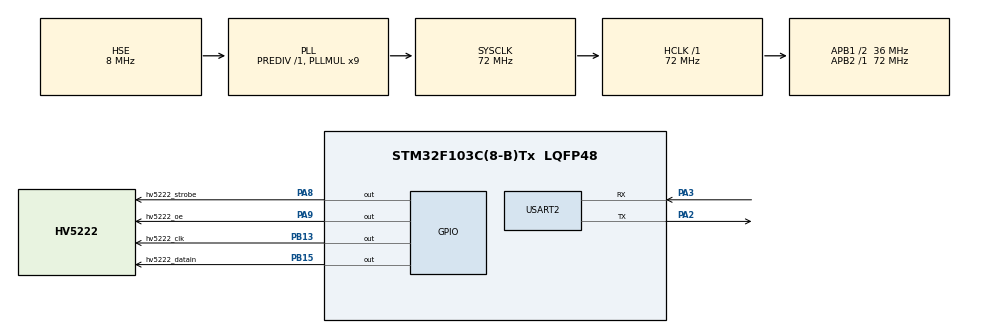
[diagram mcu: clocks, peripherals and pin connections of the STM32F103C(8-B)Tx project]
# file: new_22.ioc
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FREERTOS.Queues01=q_read_to_uart,16,uint16_t,0,Dynamic,NULL,NULL;q_uart_to_output,16,uint16_t,0,Dynamic,NULL,NULL;q_output_to_read,16,uint16_t,0,Dynamic,NULL,NULL
FREERTOS.Tasks01=t_read,1,128,start_t_read,Default,NULL,Dynamic,NULL,NULL;t_uart,0,128,start_t_uart,Default,NULL,Dynamic,NULL,NULL;t_output,0,128,start_t_output,Default,NULL,Dynamic,NULL,NULL
Mcu.Family=STM32F1
Mcu.Name=STM32F103C(8-B)Tx
Mcu.Package=LQFP48
NVIC.PriorityGroup=NVIC_PRIORITYGROUP_4
NVIC.RTC_Alarm_IRQn=true\:5\:0\:false\:false\:true\:true\:true\:true\:true
NVIC.RTC_IRQn=true\:5\:0\:false\:false\:true\:true\:true\:true\:true
NVIC.TIM4_IRQn=true\:15\:0\:false\:false\:true\:false\:false\:true\:true
NVIC.TimeBase=TIM4_IRQn
NVIC.TimeBaseIP=TIM4
NVIC.USART2_IRQn=true\:5\:0\:false\:false\:true\:true\:true\:true\:true
PA13.Mode=Serial_Wire
PA13.Signal=SYS_JTMS-SWDIO
PA14.Mode=Serial_Wire
PA14.Signal=SYS_JTCK-SWCLK
PA2.Mode=Asynchronous
PA2.Signal=USART2_TX
PA3.Mode=Asynchronous
PA3.Signal=USART2_RX
PA8.GPIO_Label=hv5222_strobe
PA8.GPIO_PuPd=GPIO_PULLUP
PA8.GPIO_Speed=GPIO_SPEED_FREQ_HIGH
PA8.PinState=GPIO_PIN_SET
PA8.Signal=GPIO_Output
PA9.GPIO_Label=hv5222_oe
PA9.GPIO_PuPd=GPIO_PULLUP
PA9.GPIO_Speed=GPIO_SPEED_FREQ_HIGH
PA9.Signal=GPIO_Output
PB13.GPIO_Label=hv5222_clk
PB13.GPIO_Speed=GPIO_SPEED_FREQ_HIGH
PB13.Signal=GPIO_Output
PB15.GPIO_Label=hv5222_datain
PB15.GPIO_Speed=GPIO_SPEED_FREQ_HIGH
PB15.Signal=GPIO_Output
PC14-OSC32_IN.Mode=LSE-External-Oscillator
PC14-OSC32_IN.Signal=RCC_OSC32_IN
PC15-OSC32_OUT.Mode=LSE-External-Oscillator
PC15-OSC32_OUT.Signal=RCC_OSC32_OUT
PD0-OSC_IN.Mode=HSE-External-Oscillator
PD0-OSC_IN.Signal=RCC_OSC_IN
PD1-OSC_OUT.Mode=HSE-External-Oscillator
PD1-OSC_OUT.Signal=RCC_OSC_OUT
ProjectManager.HeapSize=0x200
ProjectManager.StackSize=0x400
ProjectManager.TargetToolchain=STM32CubeIDE
RCC.AHBFreq_Value=72000000
RCC.APB1CLKDivider=RCC_HCLK_DIV2
RCC.APB1Freq_Value=36000000
RCC.APB1TimFreq_Value=72000000
RCC.APB2Freq_Value=72000000
RCC.APB2TimFreq_Value=72000000
RCC.HCLKFreq_Value=72000000
RCC.PLLMUL=RCC_PLL_MUL9
RCC.PLLSourceVirtual=RCC_PLLSOURCE_HSE
RCC.RTCClockSelection=RCC_RTCCLKSOURCE_LSE
RCC.SYSCLKFreq_VALUE=72000000
RCC.SYSCLKSource=RCC_SYSCLKSOURCE_PLLCLK
RCC.USBFreq_Value=72000000
USART2.VirtualMode=VM_ASYNC
VP_FREERTOS_VS_CMSIS_V1.Mode=CMSIS_V1
VP_RTC_VS_RTC_Activate.Mode=RTC_Enabled
VP_SYS_VS_tim4.Mode=TIM4
board=custom

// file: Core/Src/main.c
/* USER CODE BEGIN Header */
/**
  ******************************************************************************
  * @file           : main.c
  * @brief          : Main program body
  ******************************************************************************
  * @attention
  *
  * Copyright (c) 2024 STMicroelectronics.
  * All rights reserved.
  *
  * This software is licensed under terms that can be found in the LICENSE file
  * in the root directory of this software component.
  * If no LICENSE file comes with this software, it is provided AS-IS.
  *
  ******************************************************************************
  */
/* USER CODE END Header */
#include "main.h"
#include "cmsis_os.h"
#include "rtc.h"
#include "usart.h"
#include "gpio.h"

void SystemClock_Config(void);
void MX_FREERTOS_Init(void);

int main(void)
{

  /* MCU Configuration--------------------------------------------------------*/

  /* Reset of all peripherals, Initializes the Flash interface and the Systick. */
  HAL_Init();

  /* Configure the system clock */
  SystemClock_Config();

  /* Initialize all configured peripherals */
  MX_GPIO_Init();
  MX_RTC_Init();
  MX_USART2_UART_Init();

  /* Call init function for freertos objects (in cmsis_os2.c) */
  MX_FREERTOS_Init();

  /* Start scheduler */
  osKernelStart();

  /* We should never get here as control is now taken by the scheduler */

  /* Infinite loop */
  while (1)
  {

  }
}

void SystemClock_Config(void)
{
  RCC_OscInitTypeDef RCC_OscInitStruct = {0};
  RCC_ClkInitTypeDef RCC_ClkInitStruct = {0};
  RCC_PeriphCLKInitTypeDef PeriphClkInit = {0};

  /** Initializes the RCC Oscillators according to the specified parameters
  * in the RCC_OscInitTypeDef structure.
  */
  RCC_OscInitStruct.OscillatorType = RCC_OSCILLATORTYPE_HSE|RCC_OSCILLATORTYPE_LSE;
  RCC_OscInitStruct.HSEState = RCC_HSE_ON;
  RCC_OscInitStruct.HSEPredivValue = RCC_HSE_PREDIV_DIV1;
  RCC_OscInitStruct.LSEState = RCC_LSE_ON;
  RCC_OscInitStruct.HSIState = RCC_HSI_ON;
  RCC_OscInitStruct.PLL.PLLState = RCC_PLL_ON;
  RCC_OscInitStruct.PLL.PLLSource = RCC_PLLSOURCE_HSE;
  RCC_OscInitStruct.PLL.PLLMUL = RCC_PLL_MUL9;
  if (HAL_RCC_OscConfig(&RCC_OscInitStruct) != HAL_OK)
  {
    Error_Handler();
  }

  /** Initializes the CPU, AHB and APB buses clocks
  */
  RCC_ClkInitStruct.ClockType = RCC_CLOCKTYPE_HCLK|RCC_CLOCKTYPE_SYSCLK
                              |RCC_CLOCKTYPE_PCLK1|RCC_CLOCKTYPE_PCLK2;
  RCC_ClkInitStruct.SYSCLKSource = RCC_SYSCLKSOURCE_PLLCLK;
  RCC_ClkInitStruct.AHBCLKDivider = RCC_SYSCLK_DIV1;
  RCC_ClkInitStruct.APB1CLKDivider = RCC_HCLK_DIV2;
  RCC_ClkInitStruct.APB2CLKDivider = RCC_HCLK_DIV1;

  if (HAL_RCC_ClockConfig(&RCC_ClkInitStruct, FLASH_LATENCY_2) != HAL_OK)
  {
    Error_Handler();
  }
  PeriphClkInit.PeriphClockSelection = RCC_PERIPHCLK_RTC;
  PeriphClkInit.RTCClockSelection = RCC_RTCCLKSOURCE_LSE;
  if (HAL_RCCEx_PeriphCLKConfig(&PeriphClkInit) != HAL_OK)
  {
    Error_Handler();
  }
}

void HAL_TIM_PeriodElapsedCallback(TIM_HandleTypeDef *htim)
{
  if (htim->Instance == TIM4) {
    HAL_IncTick();
  }
}

void Error_Handler(void)
{
  __disable_irq();
  while (1)
  {
  }
}

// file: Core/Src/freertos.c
/* USER CODE BEGIN Header */
/**
  ******************************************************************************
  * File Name          : freertos.c
  * Description        : Code for freertos applications
  ******************************************************************************
  * @attention
  *
  * Copyright (c) 2024 STMicroelectronics.
  * All rights reserved.
  *
  * This software is licensed under terms that can be found in the LICENSE file
  * in the root directory of this software component.
  * If no LICENSE file comes with this software, it is provided AS-IS.
  *
  ******************************************************************************
  */
/* USER CODE END Header */

#include "self.h"

osThreadId t_readHandle;
osThreadId t_uartHandle;
osThreadId t_outputHandle;
osMessageQId q_read_to_uartHandle;
osMessageQId q_uart_to_outputHandle;
osMessageQId q_output_to_readHandle;

void start_t_read(void const * argument);
void start_t_uart(void const * argument);
void start_t_output(void const * argument);

void MX_FREERTOS_Init(void); /* (MISRA C 2004 rule 8.1) */

/* GetIdleTaskMemory prototype (linked to static allocation support) */
void vApplicationGetIdleTaskMemory( StaticTask_t **ppxIdleTaskTCBBuffer, StackType_t **ppxIdleTaskStackBuffer, uint32_t *pulIdleTaskStackSize );

/* USER CODE BEGIN GET_IDLE_TASK_MEMORY */
static StaticTask_t xIdleTaskTCBBuffer;
static StackType_t xIdleStack[configMINIMAL_STACK_SIZE];

void vApplicationGetIdleTaskMemory( StaticTask_t **ppxIdleTaskTCBBuffer, StackType_t **ppxIdleTaskStackBuffer, uint32_t *pulIdleTaskStackSize )
{
  *ppxIdleTaskTCBBuffer = &xIdleTaskTCBBuffer;
  *ppxIdleTaskStackBuffer = &xIdleStack[0];
  *pulIdleTaskStackSize = configMINIMAL_STACK_SIZE;
  /* place for user code */
}
/* USER CODE END GET_IDLE_TASK_MEMORY */

void MX_FREERTOS_Init(void) {

  /* Create the queue(s) */
  /* definition and creation of q_read_to_uart */
  osMessageQDef(q_read_to_uart, 16, uint16_t);
  q_read_to_uartHandle = osMessageCreate(osMessageQ(q_read_to_uart), NULL);

  /* definition and creation of q_uart_to_output */
  osMessageQDef(q_uart_to_output, 16, uint16_t);
  q_uart_to_outputHandle = osMessageCreate(osMessageQ(q_uart_to_output), NULL);

  /* definition and creation of q_output_to_read */
  osMessageQDef(q_output_to_read, 16, uint16_t);
  q_output_to_readHandle = osMessageCreate(osMessageQ(q_output_to_read), NULL);

  /* Create the thread(s) */
  /* definition and creation of t_read */
  osThreadDef(t_read, start_t_read, osPriorityAboveNormal, 0, 128);
  t_readHandle = osThreadCreate(osThread(t_read), NULL);

  /* definition and creation of t_uart */
  osThreadDef(t_uart, start_t_uart, osPriorityNormal, 0, 128);
  t_uartHandle = osThreadCreate(osThread(t_uart), NULL);

  /* definition and creation of t_output */
  osThreadDef(t_output, start_t_output, osPriorityNormal, 0, 128);
  t_outputHandle = osThreadCreate(osThread(t_output), NULL);

}

void start_t_read(void const * argument)
{
  /* USER CODE BEGIN start_t_read */
  /* Infinite loop */
  for(;;)
  {
    vTaskDelay(5000);
  }
  /* USER CODE END start_t_read */
}

void start_t_uart(void const * argument)
{
  /* USER CODE BEGIN start_t_uart */
  /* Infinite loop */
  for(;;)
  {
    vTaskDelay(7000);
  }
  /* USER CODE END start_t_uart */
}

void start_t_output(void const * argument)
{
  /* USER CODE BEGIN start_t_output */
  uint8_t v_displace_1 = 0, v_displace_2 = 0, v_displace_3 = 0, v_displace_4 = 0;
  uint32_t v_send_to_hv5222 = 0xFFFFFFFF;
  f_send_to_hv5222(v_send_to_hv5222);
  /* Infinite loop */
  for(;;)
  {
    if (v_displace_1 < 9)
    {
      v_displace_1 ++;
    }else
    {
      v_displace_1 = 0;

      if (v_displace_2 < 5)
      {
        v_displace_2 ++;
      }else
      {
        v_displace_2 = 0;

        if (v_displace_3 < 9 && v_displace_4 < 2)
        {
          v_displace_3 ++;
        }else if (v_displace_3 < 3 && v_displace_4 == 2)
        {
          v_displace_3 ++;
        }else if (v_displace_3 == 9 && v_displace_4 < 2)
        {
          v_displace_3 = 0;
          v_displace_4 ++;
        }else if (v_displace_3 == 3 && v_displace_4 == 2)
        {
          v_displace_3 = 0;
          v_displace_4 = 0;
        }
      }
    }

    v_send_to_hv5222 = 0xFFFFFFFF - (1 << v_displace_1) - ((1 << 10) << v_displace_2) -
              ((1 << 16) << v_displace_3) - ((1 << 26) << v_displace_4);
    f_send_to_hv5222(v_send_to_hv5222);
    vTaskDelay(pdMS_TO_TICKS(1000));
  }
  /* USER CODE END start_t_output */
}
